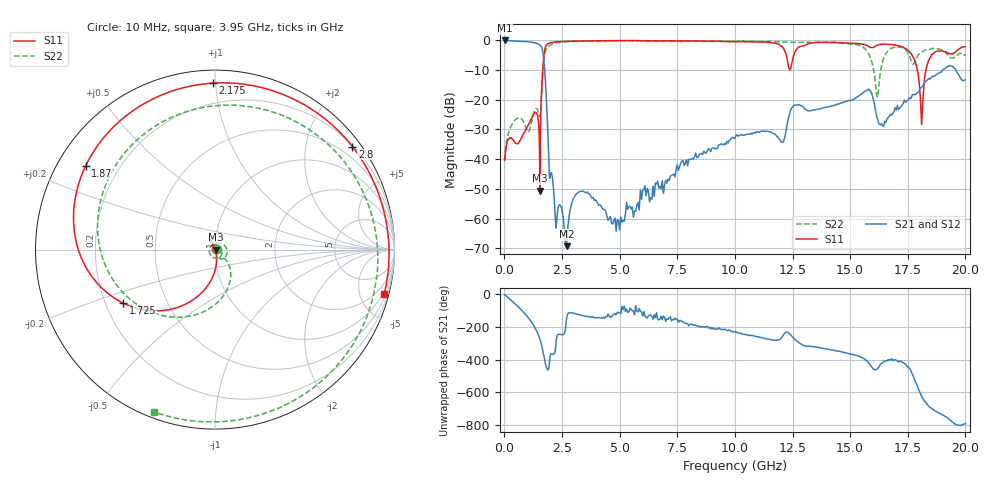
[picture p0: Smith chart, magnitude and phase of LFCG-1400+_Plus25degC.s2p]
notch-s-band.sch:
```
<Qucs Schematic 0.0.20>
<Properties>
  <View=150,181,1510,1334,0.490059,0,0>
  <Grid=10,10,1>
  <DataSet=notch-s-band.dat>
  <DataDisplay=notch-s-band.dpl>
  <OpenDisplay=1>
  <Script=notch-s-band.m>
  <RunScript=0>
  <showFrame=0>
  <FrameText0=Title>
  <FrameText1=Drawn By:>
  <FrameText2=Date:>
  <FrameText3=Revision:>
</Properties>
<Symbol>
</Symbol>
<Components>
  <Pac P1 1 450 380 18 -26 0 1 "1" 1 "50 Ohm" 1 "0 dBm" 0 "1 GHz" 0 "26.85" 0>
  <GND *1 5 450 410 0 0 0 0>
  <GND *2 5 560 470 0 0 0 0>
  <GND *3 5 700 470 0 0 0 0>
  <GND *4 5 840 470 0 0 0 0>
  <Pac P2 1 950 380 18 -26 0 1 "2" 1 "50 Ohm" 1 "0 dBm" 0 "1 GHz" 0 "26.85" 0>
  <GND *5 5 950 410 0 0 0 0>
  <C C4 1 770 300 -26 10 0 0 "2.2 pF" 1 "" 0 "neutral" 0>
  <C C2 1 630 300 -26 10 0 0 "2.2 pF" 1 "" 0 "neutral" 0>
  <C C1 1 560 440 17 -26 0 1 "0.5 pF" 1 "" 0 "neutral" 0>
  <C C5 1 840 440 17 -26 0 1 "0.5 pF" 1 "" 0 "neutral" 0>
  <L L1 1 560 380 17 -26 0 1 "12 nH" 1 "" 0>
  <L L5 1 840 380 17 -26 0 1 "12 nH" 1 "" 0>
  <C C3 1 700 440 17 -26 0 1 "1 pF" 1 "" 0 "neutral" 0>
  <L L3 1 700 380 17 -26 0 1 "4.7nH" 1 "" 0>
  <L L2 1 630 265 -26 -44 0 0 "2 nH" 1 "" 0>
  <L L4 1 770 265 -26 -44 0 0 "2 nH" 1 "" 0>
  <Eqn Eqn1 1 680 550 -28 15 0 0 "S21_dB=dB(S[2,1])" 1 "S43_dB=dB(S[4,3])" 1 "S33_dB=dB(S[3,3])" 1 "S11_dB=dB(S[1,1])" 1 "yes" 0>
  <GND *6 5 1260 430 0 0 0 0>
  <Pac P4 1 1140 360 18 -26 0 1 "3" 1 "50 Ohm" 1 "0 dBm" 0 "1000 MHz" 0 "26.85" 0>
  <Pac P3 1 1360 360 18 -26 0 1 "4" 1 "50 Ohm" 1 "0 dBm" 0 "1000 MHz" 0 "26.85" 0>
  <.SP SP1 1 460 540 0 67 0 0 "log" 1 "200 MHz" 1 "3 GHz" 1 "1000" 1 "no" 0 "1" 0 "2" 0 "no" 0 "no" 0>
  <SPfile LPF1 1 1260 300 -26 -38 0 0 "LFCG-1400+_Plus25degC.s2p" 0 "rectangular" 0 "linear" 0 "open" 0 "2" 0>
</Components>
<Wires>
  <450 300 450 350 "" 0 0 0 "">
  <450 300 560 300 "" 0 0 0 "">
  <560 300 560 350 "" 0 0 0 "">
  <700 300 700 350 "" 0 0 0 "">
  <840 300 840 350 "" 0 0 0 "">
  <560 300 600 300 "" 0 0 0 "">
  <660 300 700 300 "" 0 0 0 "">
  <700 300 740 300 "" 0 0 0 "">
  <800 300 840 300 "" 0 0 0 "">
  <600 265 600 300 "" 0 0 0 "">
  <660 265 660 300 "" 0 0 0 "">
  <740 265 740 300 "" 0 0 0 "">
  <800 265 800 300 "" 0 0 0 "">
  <950 300 950 350 "" 0 0 0 "">
  <840 300 950 300 "" 0 0 0 "">
  <1290 300 1360 300 "" 0 0 0 "">
  <1360 300 1360 330 "" 0 0 0 "">
  <1360 390 1360 430 "" 0 0 0 "">
  <1260 430 1360 430 "" 0 0 0 "">
  <1260 330 1260 430 "" 0 0 0 "">
  <1140 430 1260 430 "" 0 0 0 "">
  <1140 390 1140 430 "" 0 0 0 "">
  <1140 300 1230 300 "" 0 0 0 "">
  <1140 300 1140 330 "" 0 0 0 "">
</Wires>
<Diagrams>
  <Rect 380 1186 1077 376 3 #c0c0c0 1 00 1 2e+08 2e+08 3e+09 1 -112.867 20 10.2606 1 -1 0.2 1 315 0 225 "" "" "" "">
	<"S11_dB" #0000ff 0 3 0 0 0>
	<"S33_dB" #ff00ff 0 3 0 0 0>
	<"S43_dB" #00ff00 0 3 0 0 0>
	  <Mkr 2.02496e+09 532 -431 3 0 0>
	  <Mkr 2.46139e+09 940 -436 3 0 0>
	  <Mkr 4.03592e+08 -101 -434 3 0 0>
	  <Mkr 4.99973e+08 146 -434 3 0 0>
	<"S21_dB" #aa0000 0 3 0 0 0>
	  <Mkr 2.02496e+09 482 -178 3 0 0>
	  <Mkr 2.45473e+09 899 -205 3 0 0>
  </Rect>
</Diagrams>
<Paintings>
  <Text 190 340 12 #000000 0 "Butterworth band-stop filter \n 1.8 GHz...2.6 GHz, pi-type, \n impedance matching 50 Ohm">
</Paintings>
```
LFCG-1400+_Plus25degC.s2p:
! Mini-Circuits
! S2P DATA File Format
! Type: LOW PASS FILTER
! Model: LFCG-1400+
! All S Parameters are in dB deg format
! TEST CONDITIONS: INPUT POWER = 0 dBm @ Temperature = +25deg C
# MHz S dB R 50
!Frequency  S11 dB  S11 DEG  S21 dB  S21 DEG  S12 dB  S12 DEG  S22 dB  S22 DEG
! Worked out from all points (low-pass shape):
!   696 points, 10 MHz to 20 GHz, reference 50 ohm
!   highest |S21| = -0.11 dB at 10 MHz (marker M1); lowest = -69.3 dB at 2.7 GHz (marker M2)
!   |S21| within 3 dB of the highest: start of sweep to 1.646 GHz
!   lowest |S11| = -50.6 dB at 1.54 GHz (marker M3), VSWR 1.01, Z = 50.3 + j0.00254 ohm
!   |S11| at or under -10 dB: start of sweep to 1.664 GHz; 17.91 GHz to 18.29 GHz (381 MHz wide, 2.1 % of centre)
!   |S22| runs from -39.7 to -0.2 dB; largest |S21 - S12| = 0.00056
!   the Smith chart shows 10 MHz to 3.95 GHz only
!   S11 on the Smith chart (normalised r, x): 10 MHz: 1.02, +0.01; 1.725 GHz: 0.27, -0.25; 1.87 GHz: 0.08, +0.29; 2.175 GHz: 0.07, +0.99; 2.8 GHz: 0.22, +2.99; 3.95 GHz: 0.77, -7.67
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10  -40.44 33.0  -0.11 -1.4  -0.11 -1.4  -39.65 26.6
780  -32.20 88.5  -0.42 -101.9  -0.42 -101.9  -26.81 -103.4
1540  -50.62 0.5  -1.63 85.5  -1.63 85.5  -25.56 -55.4
1725  -4.54 -149.8  -7.64 -28.8  -7.64 -28.8  -5.96 -137.2
1870  -1.32 147.0  -27.91 -100.6  -27.91 -100.6  -2.40 119.3
2175  -0.65 90.6  -55.00 -1.4  -54.96 -1.3  -1.06 20.8
2700  -0.40 43.4  -69.30 -145.3  -69.11 -145.0  -0.52 -49.4
2800  -0.38 36.8  -59.62 -113.1  -59.65 -113.7  -0.48 -57.6
3950  -0.22 -14.7  -53.73 -144.7  -53.69 -145.1  -0.30 -110.5
10050  -0.52 -102.6  -31.97 128.4  -31.97 128.4  -0.32 153.1
20000  -2.12 135.2  -13.34 -72.7  -13.34 -72.6  -5.27 63.9
